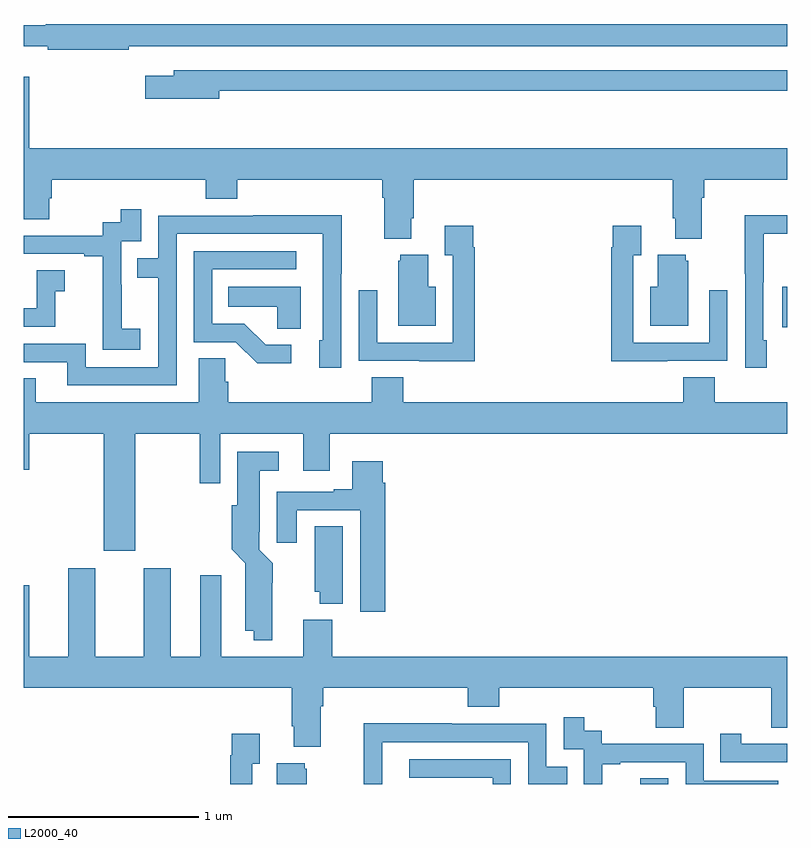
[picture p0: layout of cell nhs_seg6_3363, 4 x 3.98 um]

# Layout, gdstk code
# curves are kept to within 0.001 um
import gdstk
lib = gdstk.Library(unit=1e-6, precision=1e-09)
def R(c, l, rs):  # rectangles x0, y0, x1, y1
    for r in rs: c.add(gdstk.rectangle(r[:2], r[2:], *l))
def P(c, l, *ps):  # polygons
    for p in ps: c.add(gdstk.Polygon(p, *l))
L2000_40 = (2000, 40)

nhs_seg6_3363 = lib.new_cell('nhs_seg6_3363')
R(nhs_seg6_3363, L2000_40, [(312.231,945.5,312.378,945.529), (312.974,947.894,313,948.106)])
P(nhs_seg6_3363, L2000_40, [(309.548,949.368),(313,949.368),(313,949.484),(309.113,949.484),(309.113,949.477),(309,949.477),(309,949.367),(309.124,949.367),(309.124,949.348),(309.548,949.348)],
  [(310.024,949.134),(313,949.134),(313,949.242),(309.785,949.242),(309.785,949.213),(309.636,949.213),(309.636,949.091),(310.024,949.091)],
  [(311.029,948.466),(311.042,948.466),(311.042,948.668),(312.401,948.668),(312.401,948.466),(312.413,948.466),(312.413,948.359),(312.553,948.359),(312.553,948.572),(312.566,948.572),(312.566,948.668),(313,948.668),(313,948.832),(309.028,948.832),(309.028,949.207),(309,949.207),(309,948.46),(309.133,948.46),(309.133,948.57),(309.146,948.57),(309.146,948.668),(309.953,948.668),(309.953,948.569),(310.118,948.569),(310.118,948.668),(310.877,948.668),(310.877,948.572),(310.889,948.572),(310.889,948.359),(311.029,948.359)],
  [(309.61,947.887),(309.512,947.887),(309.512,948.116),(309.51,948.116),(309.51,948.345),(309.615,948.345),(309.615,948.514),(309.507,948.514),(309.507,948.444),(309.414,948.444),(309.414,948.375),(309,948.375),(309,948.279),(309.317,948.279),(309.317,948.267),(309.413,948.267),(309.413,947.983),(309.412,947.983),(309.412,947.777),(309.61,947.777)],
  [(309.801,948.384),(310.566,948.384),(310.566,947.826),(310.547,947.826),(310.547,947.682),(310.662,947.682),(310.662,948.175),(310.665,948.175),(310.665,948.482),(310.201,948.482),(310.201,948.48),(309.705,948.48),(309.705,948.255),(309.595,948.255),(309.595,948.154),(309.705,948.154),(309.705,947.685),(309.324,947.685),(309.324,947.808),(309,947.808),(309,947.712),(309.227,947.712),(309.227,947.589),(309.801,947.589)],
  [(312.895,947.826),(312.876,947.826),(312.876,948.13),(312.877,948.13),(312.877,948.384),(313,948.384),(313,948.482),(312.778,948.482),(312.778,948.175),(312.78,948.175),(312.78,947.682),(312.895,947.682)],
  [(311.363,948.314),(311.356,948.314),(311.356,948.427),(311.207,948.427),(311.207,948.271),(311.247,948.271),(311.247,947.814),(310.851,947.814),(310.851,948.088),(310.755,948.088),(310.755,947.718),(311.071,947.718),(311.071,947.717),(311.363,947.717)],
  [(312.371,947.718),(312.687,947.718),(312.687,948.088),(312.591,948.088),(312.591,947.814),(312.195,947.814),(312.195,948.271),(312.235,948.271),(312.235,948.427),(312.087,948.427),(312.087,948.314),(312.079,948.314),(312.079,947.717),(312.371,947.717)],
  [(310.402,947.802),(310.267,947.802),(310.156,947.913),(309.987,947.913),(309.987,948.198),(310.426,948.198),(310.426,948.294),(309.891,948.294),(309.891,947.817),(310.11,947.817),(310.223,947.705),(310.402,947.705)],
  [(311.158,948.106),(311.119,948.106),(311.119,948.274),(310.973,948.274),(310.973,948.243),(310.961,948.243),(310.961,947.903),(311.158,947.903)],
  [(312.481,948.243),(312.47,948.243),(312.47,948.274),(312.323,948.274),(312.323,948.106),(312.284,948.106),(312.284,947.903),(312.481,947.903)],
  [(309.165,948.083),(309.214,948.083),(309.214,948.193),(309.066,948.193),(309.066,947.994),(309,947.994),(309,947.898),(309.165,947.898)],
  [(310.45,948.106),(310.072,948.106),(310.072,948.002),(310.329,948.002),(310.329,947.887),(310.45,947.887)],
  [(309.583,947.336),(309.921,947.336),(309.921,947.076),(310.029,947.076),(310.029,947.336),(310.463,947.336),(310.463,947.142),(310.603,947.142),(310.603,947.336),(313,947.336),(313,947.5),(312.62,947.5),(312.62,947.633),(312.455,947.633),(312.455,947.5),(310.988,947.5),(310.988,947.633),(310.823,947.633),(310.823,947.5),(310.07,947.5),(310.07,947.609),(310.056,947.609),(310.056,947.732),(309.917,947.732),(309.917,947.5),(309.061,947.5),(309.061,947.627),(309,947.627),(309,947.148),(309.028,947.148),(309.028,947.336),(309.419,947.336),(309.419,946.722),(309.583,946.722)],
  [(310.302,946.556),(310.303,946.658),(310.233,946.728),(310.233,946.822),(310.237,946.822),(310.237,947.141),(310.336,947.141),(310.336,947.242),(310.118,947.242),(310.118,946.962),(310.088,946.962),(310.088,946.73),(310.16,946.658),(310.16,946.304),(310.205,946.304),(310.205,946.253),(310.302,946.253)],
  [(310.895,947.078),(310.882,947.078),(310.882,947.191),(310.721,947.191),(310.721,947.044),(310.625,947.044),(310.625,947.031),(310.325,947.031),(310.325,946.764),(310.429,946.764),(310.429,946.935),(310.763,946.935),(310.763,946.404),(310.895,946.404)],
  [(310.672,946.85),(310.523,946.85),(310.523,946.509),(310.55,946.509),(310.55,946.445),(310.672,946.445)],
  [(310.555,945.908),(310.568,945.908),(310.568,946.004),(311.327,946.004),(311.327,945.905),(311.492,945.905),(311.492,946.004),(312.299,946.004),(312.299,945.906),(312.311,945.906),(312.311,945.796),(312.459,945.796),(312.459,946.004),(312.916,946.004),(312.916,945.796),(313,945.796),(313,946.168),(310.616,946.168),(310.616,946.36),(310.463,946.36),(310.463,946.168),(310.033,946.168),(310.033,946.594),(309.923,946.594),(309.923,946.168),(309.769,946.168),(309.769,946.63),(309.629,946.63),(309.629,946.168),(309.373,946.168),(309.373,946.63),(309.233,946.63),(309.233,946.168),(309.028,946.168),(309.028,946.543),(309,946.543),(309,946.004),(310.403,946.004),(310.403,945.802),(310.415,945.802),(310.415,945.695),(310.555,945.695)],
  [(312.032,945.603),(312.127,945.603),(312.127,945.615),(312.468,945.615),(312.468,945.5),(312.953,945.5),(312.953,945.516),(312.564,945.516),(312.564,945.711),(312.03,945.711),(312.03,945.78),(311.938,945.78),(311.938,945.85),(311.829,945.85),(311.829,945.681),(311.934,945.681),(311.934,945.5),(312.032,945.5)],
  [(310.878,945.72),(311.643,945.72),(311.643,945.5),(311.849,945.5),(311.849,945.591),(311.739,945.591),(311.739,945.816),(311.243,945.816),(311.243,945.818),(310.78,945.818),(310.78,945.511),(310.782,945.511),(310.782,945.5),(310.878,945.5)],
  [(310.197,945.607),(310.237,945.607),(310.237,945.763),(310.089,945.763),(310.089,945.65),(310.081,945.65),(310.081,945.5),(310.197,945.5)],
  [(313,945.711),(312.76,945.711),(312.76,945.763),(312.649,945.763),(312.649,945.615),(313,945.615)],
  [(311.553,945.63),(311.019,945.63),(311.019,945.534),(311.457,945.534),(311.457,945.5),(311.553,945.5)],
  [(310.483,945.579),(310.472,945.579),(310.472,945.61),(310.325,945.61),(310.325,945.5),(310.483,945.5)])

lib.write_gds('nhs_seg6_3363.gds')
